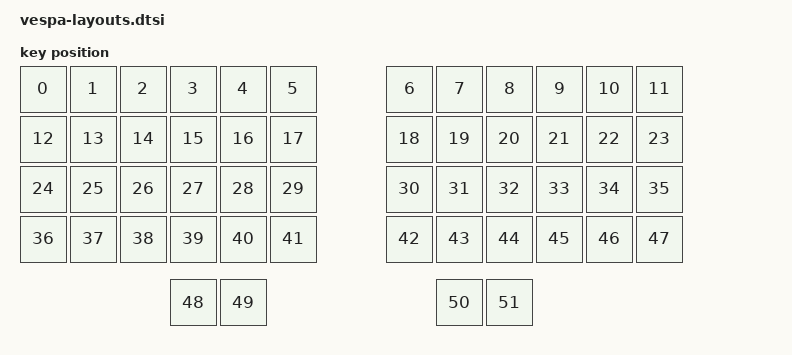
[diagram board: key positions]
#include <physical_layouts.dtsi>

/ {
    physical_layout0: physical_layout_0 {
        compatible = "zmk,physical-layout";
        display-name = "Default Layout";

        keys  //                     w   h    x    y     rot    rx    ry
            = <&key_physical_attrs 100 100    0    0       0     0     0>
            , <&key_physical_attrs 100 100  100    0       0     0     0>
            , <&key_physical_attrs 100 100  200    0       0     0     0>
            , <&key_physical_attrs 100 100  300    0       0     0     0>
            , <&key_physical_attrs 100 100  400    0       0     0     0>
            , <&key_physical_attrs 100 100  500    0       0     0     0>
            , <&key_physical_attrs 100 100  733    0       0     0     0>
            , <&key_physical_attrs 100 100  833    0       0     0     0>
            , <&key_physical_attrs 100 100  933    0       0     0     0>
            , <&key_physical_attrs 100 100 1033    0       0     0     0>
            , <&key_physical_attrs 100 100 1133    0       0     0     0>
            , <&key_physical_attrs 100 100 1233    0       0     0     0>
            , <&key_physical_attrs 100 100    0  100       0     0     0>
            , <&key_physical_attrs 100 100  100  100       0     0     0>
            , <&key_physical_attrs 100 100  200  100       0     0     0>
            , <&key_physical_attrs 100 100  300  100       0     0     0>
            , <&key_physical_attrs 100 100  400  100       0     0     0>
            , <&key_physical_attrs 100 100  500  100       0     0     0>
            , <&key_physical_attrs 100 100  733  100       0     0     0>
            , <&key_physical_attrs 100 100  833  100       0     0     0>
            , <&key_physical_attrs 100 100  933  100       0     0     0>
            , <&key_physical_attrs 100 100 1033  100       0     0     0>
            , <&key_physical_attrs 100 100 1133  100       0     0     0>
            , <&key_physical_attrs 100 100 1233  100       0     0     0>
            , <&key_physical_attrs 100 100    0  200       0     0     0>
            , <&key_physical_attrs 100 100  100  200       0     0     0>
            , <&key_physical_attrs 100 100  200  200       0     0     0>
            , <&key_physical_attrs 100 100  300  200       0     0     0>
            , <&key_physical_attrs 100 100  400  200       0     0     0>
            , <&key_physical_attrs 100 100  500  200       0     0     0>
            , <&key_physical_attrs 100 100  733  200       0     0     0>
            , <&key_physical_attrs 100 100  833  200       0     0     0>
            , <&key_physical_attrs 100 100  933  200       0     0     0>
            , <&key_physical_attrs 100 100 1033  200       0     0     0>
            , <&key_physical_attrs 100 100 1133  200       0     0     0>
            , <&key_physical_attrs 100 100 1233  200       0     0     0>
            , <&key_physical_attrs 100 100    0  300       0     0     0>
            , <&key_physical_attrs 100 100  100  300       0     0     0>
            , <&key_physical_attrs 100 100  200  300       0     0     0>
            , <&key_physical_attrs 100 100  300  300       0     0     0>
            , <&key_physical_attrs 100 100  400  300       0     0     0>
            , <&key_physical_attrs 100 100  500  300       0     0     0>
            , <&key_physical_attrs 100 100  733  300       0     0     0>
            , <&key_physical_attrs 100 100  833  300       0     0     0>
            , <&key_physical_attrs 100 100  933  300       0     0     0>
            , <&key_physical_attrs 100 100 1033  300       0     0     0>
            , <&key_physical_attrs 100 100 1133  300       0     0     0>
            , <&key_physical_attrs 100 100 1233  300       0     0     0>
            , <&key_physical_attrs 100 100  300  427       0     0     0>
            , <&key_physical_attrs 100 100  400  427       0     0     0>
            , <&key_physical_attrs 100 100  833  427       0     0     0>
            , <&key_physical_attrs 100 100  933  427       0     0     0>
            ;
    };
};
